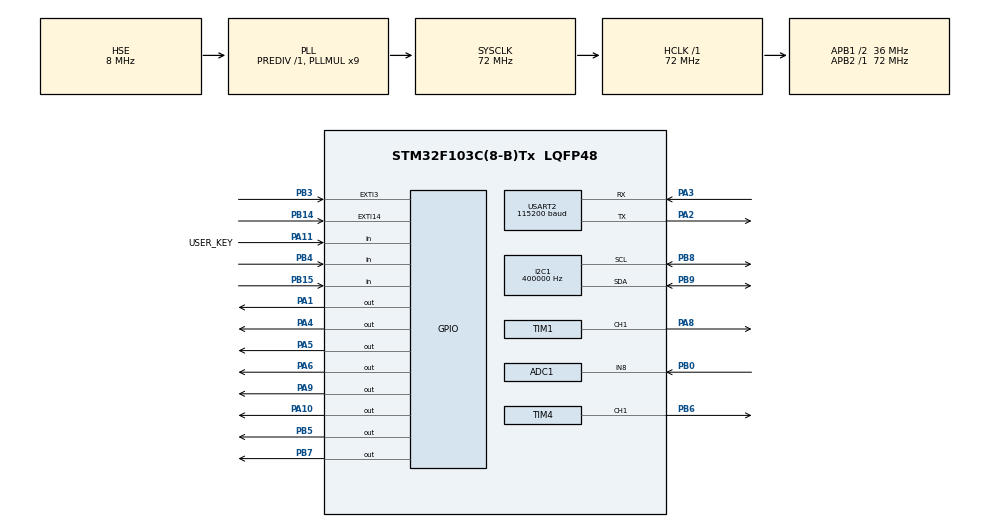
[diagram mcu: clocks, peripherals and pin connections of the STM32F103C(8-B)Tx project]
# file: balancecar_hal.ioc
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ADC1.Channel-4\#ChannelInjectedConversion=ADC_CHANNEL_8
ADC1.EnableInjectedConversion=ENABLE
ADC1.EnableRegularConversion=DISABLE
ADC1.ExternalTrigInjecConv=ADC_EXTERNALTRIGINJECCONV_T2_TRGO
ADC1.InjNumberOfConversion=1
ADC1.InjectedOffset-4\#ChannelInjectedConversion=0
ADC1.InjectedRank-4\#ChannelInjectedConversion=1
ADC1.SamplingTime-4\#ChannelInjectedConversion=ADC_SAMPLETIME_1CYCLE_5
ADC1.master=1
I2C1.ClockSpeed=400000
I2C1.I2C_Mode=I2C_Fast
Mcu.Family=STM32F1
Mcu.Name=STM32F103C(8-B)Tx
Mcu.Package=LQFP48
NVIC.ADC1_2_IRQn=true\:0\:0\:false\:false\:true\:true\:true\:true
NVIC.EXTI15_10_IRQn=true\:0\:0\:false\:false\:true\:true\:true\:true
NVIC.EXTI3_IRQn=true\:0\:0\:false\:false\:true\:true\:true\:true
NVIC.PriorityGroup=NVIC_PRIORITYGROUP_4
PA1.Signal=GPIO_Output
PA10.Signal=GPIO_Output
PA11.GPIO_Label=USER_KEY
PA11.GPIO_PuPd=GPIO_PULLUP
PA11.Signal=GPIO_Input
PA13.Mode=Serial_Wire
PA13.Signal=SYS_JTMS-SWDIO
PA14.Mode=Serial_Wire
PA14.Signal=SYS_JTCK-SWCLK
PA2.Mode=Asynchronous
PA2.Signal=USART2_TX
PA3.Mode=Asynchronous
PA3.Signal=USART2_RX
PA4.Signal=GPIO_Output
PA5.Signal=GPIO_Output
PA6.Signal=GPIO_Output
PA8.Signal=S_TIM1_CH1
PA9.Signal=GPIO_Output
PB0.GPIO_Mode=GPIO_MODE_ANALOG
PB0.Signal=ADCx_IN8
PB14.GPIO_ModeDefaultEXTI=GPIO_MODE_IT_RISING_FALLING
PB14.GPIO_PuPd=GPIO_PULLUP
PB14.Signal=GPXTI14
PB15.GPIO_PuPd=GPIO_PULLUP
PB15.Signal=GPIO_Input
PB3.GPIO_ModeDefaultEXTI=GPIO_MODE_IT_RISING_FALLING
PB3.GPIO_PuPd=GPIO_PULLUP
PB3.Signal=GPXTI3
PB4.GPIO_PuPd=GPIO_PULLUP
PB4.Signal=GPIO_Input
PB5.Signal=GPIO_Output
PB6.Signal=S_TIM4_CH1
PB7.Signal=GPIO_Output
PB8.Mode=I2C
PB8.Signal=I2C1_SCL
PB9.Mode=I2C
PB9.Signal=I2C1_SDA
PD0-OSC_IN.Mode=HSE-External-Oscillator
PD0-OSC_IN.Signal=RCC_OSC_IN
PD1-OSC_OUT.Mode=HSE-External-Oscillator
PD1-OSC_OUT.Signal=RCC_OSC_OUT
ProjectManager.HeapSize=0x200
ProjectManager.StackSize=0x400
ProjectManager.TargetToolchain=MDK-ARM V5.32
RCC.ADCPresc=RCC_ADCPCLK2_DIV6
RCC.AHBFreq_Value=72000000
RCC.APB1CLKDivider=RCC_HCLK_DIV2
RCC.APB1Freq_Value=36000000
RCC.APB1TimFreq_Value=72000000
RCC.APB2Freq_Value=72000000
RCC.APB2TimFreq_Value=72000000
RCC.HCLKFreq_Value=72000000
RCC.PLLMUL=RCC_PLL_MUL9
RCC.PLLSourceVirtual=RCC_PLLSOURCE_HSE
RCC.SYSCLKFreq_VALUE=72000000
RCC.SYSCLKSource=RCC_SYSCLKSOURCE_PLLCLK
RCC.USBFreq_Value=72000000
SH.ADCx_IN8.0=ADC1_IN8,IN8
SH.S_TIM1_CH1.0=TIM1_CH1,PWM Generation1 CH1
SH.S_TIM4_CH1.0=TIM4_CH1,PWM Generation1 CH1
TIM1.AutoReloadPreload=TIM_AUTORELOAD_PRELOAD_ENABLE
TIM1.Channel-PWM\ Generation1\ CH1=TIM_CHANNEL_1
TIM1.Period=999
TIM2.AutoReloadPreload=TIM_AUTORELOAD_PRELOAD_ENABLE
TIM2.Period=999
TIM2.Prescaler=7
TIM2.TIM_MasterOutputTrigger=TIM_TRGO_UPDATE
TIM2.TIM_MasterSlaveMode=TIM_MASTERSLAVEMODE_ENABLE
TIM4.AutoReloadPreload=TIM_AUTORELOAD_PRELOAD_ENABLE
TIM4.Channel-PWM\ Generation1\ CH1=TIM_CHANNEL_1
TIM4.Period=999
USART2.BaudRate=115200
USART2.VirtualMode=VM_ASYNC
VP_TIM1_VS_ClockSourceINT.Mode=Internal
VP_TIM2_VS_ClockSourceINT.Mode=Internal
VP_TIM4_VS_ClockSourceINT.Mode=Internal
board=custom

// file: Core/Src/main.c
/* USER CODE BEGIN Header */
/**
  ******************************************************************************
  * @file           : main.c
  * @brief          : Main program body
  ******************************************************************************
  * @attention
  *
  * Copyright (c) 2026 STMicroelectronics.
  * All rights reserved.
  *
  * This software is licensed under terms that can be found in the LICENSE file
  * in the root directory of this software component.
  * If no LICENSE file comes with this software, it is provided AS-IS.
  *
  ******************************************************************************
  */
/* USER CODE END Header */
#include "main.h"
#include "adc.h"
#include "i2c.h"
#include "tim.h"
#include "usart.h"
#include "gpio.h"

/* USER CODE BEGIN Includes */
#include "app_bat.h"
#include "test.h"
#include "app_button.h"
#include "app_pwm.h"
#include "pwm_test.h"
#include "encoder_test.h"
#include "app_encoder.h"
#include "mpu6050_test.h"
#include "app_motor.h"
#include "task.h"
#include <stdarg.h>
#include <stdio.h>
#include "app_mpu6050.h"
#include "app_control.h"
/* USER CODE END Includes */

/* USER CODE BEGIN PV */
//static float targetOmega;
/* USER CODE END PV */

void SystemClock_Config(void);
/* USER CODE BEGIN PFP */
static void Usart2_proc(void);

/* USER CODE END PFP */

int main(void)
{

  /* MCU Configuration--------------------------------------------------------*/

  /* Reset of all peripherals, Initializes the Flash interface and the Systick. */
  HAL_Init();

  /* Configure the system clock */
  SystemClock_Config();

  /* Initialize all configured peripherals */
  MX_GPIO_Init();
  MX_ADC1_Init();
  MX_TIM2_Init();
  MX_USART2_UART_Init();
  MX_TIM1_Init();
  MX_TIM4_Init();
  MX_I2C1_Init();
  /* USER CODE BEGIN 2 */
	App_Button_Init();
	App_Encoder_Init();
	App_PWM_Init();
	App_Bat_Init();
	App_Motor_Init();
	App_Mpu6050_Init();
	App_Control_Init();
  /* USER CODE END 2 */

  /* Infinite loop */
  /* USER CODE BEGIN WHILE */
  while (1)
  {
//		targetOmega=(HAL_GetTick()/1000)%10*2.0f;
//		App_Motor_SetOmega_L(targetOmega);
//		App_Motor_SetOmega_R(targetOmega);
    /* USER CODE END WHILE */

    /* USER CODE BEGIN 3 */
    App_Button_proc();
		App_Bat_proc();
		APP_Motor_Proc();
		App_MPU6050_Proc();
		App_Control_Proc();
//		Usart2_proc();
  }
  /* USER CODE END 3 */
}

void SystemClock_Config(void)
{
  RCC_OscInitTypeDef RCC_OscInitStruct = {0};
  RCC_ClkInitTypeDef RCC_ClkInitStruct = {0};
  RCC_PeriphCLKInitTypeDef PeriphClkInit = {0};

  /** Initializes the RCC Oscillators according to the specified parameters
  * in the RCC_OscInitTypeDef structure.
  */
  RCC_OscInitStruct.OscillatorType = RCC_OSCILLATORTYPE_HSE;
  RCC_OscInitStruct.HSEState = RCC_HSE_ON;
  RCC_OscInitStruct.HSEPredivValue = RCC_HSE_PREDIV_DIV1;
  RCC_OscInitStruct.HSIState = RCC_HSI_ON;
  RCC_OscInitStruct.PLL.PLLState = RCC_PLL_ON;
  RCC_OscInitStruct.PLL.PLLSource = RCC_PLLSOURCE_HSE;
  RCC_OscInitStruct.PLL.PLLMUL = RCC_PLL_MUL9;
  if (HAL_RCC_OscConfig(&RCC_OscInitStruct) != HAL_OK)
  {
    Error_Handler();
  }

  /** Initializes the CPU, AHB and APB buses clocks
  */
  RCC_ClkInitStruct.ClockType = RCC_CLOCKTYPE_HCLK|RCC_CLOCKTYPE_SYSCLK
                              |RCC_CLOCKTYPE_PCLK1|RCC_CLOCKTYPE_PCLK2;
  RCC_ClkInitStruct.SYSCLKSource = RCC_SYSCLKSOURCE_PLLCLK;
  RCC_ClkInitStruct.AHBCLKDivider = RCC_SYSCLK_DIV1;
  RCC_ClkInitStruct.APB1CLKDivider = RCC_HCLK_DIV2;
  RCC_ClkInitStruct.APB2CLKDivider = RCC_HCLK_DIV1;

  if (HAL_RCC_ClockConfig(&RCC_ClkInitStruct, FLASH_LATENCY_2) != HAL_OK)
  {
    Error_Handler();
  }
  PeriphClkInit.PeriphClockSelection = RCC_PERIPHCLK_ADC;
  PeriphClkInit.AdcClockSelection = RCC_ADCPCLK2_DIV6;
  if (HAL_RCCEx_PeriphCLKConfig(&PeriphClkInit) != HAL_OK)
  {
    Error_Handler();
  }
}

/* USER CODE BEGIN 4 */
//	static void Usart2_proc(void)
//	{
//		PERIODIC(10);
//		float omega_l=App_Encoder_GetSpeed_L();
//		float omega_r=App_Encoder_GetSpeed_R();
//		char buf[128];
//    int len = snprintf(buf, sizeof(buf),
//                       "%.3f,%.3f,%.3f\n", targetOmega, omega_l, omega_r);
//    if (len > 0 && len < (int)sizeof(buf))
//    {
//        HAL_UART_Transmit(&huart2, (uint8_t *)buf, (uint16_t)len, 100);
//    }
//	}
/* USER CODE END 4 */

void Error_Handler(void)
{
  __disable_irq();
  while (1)
  {
  }
}
